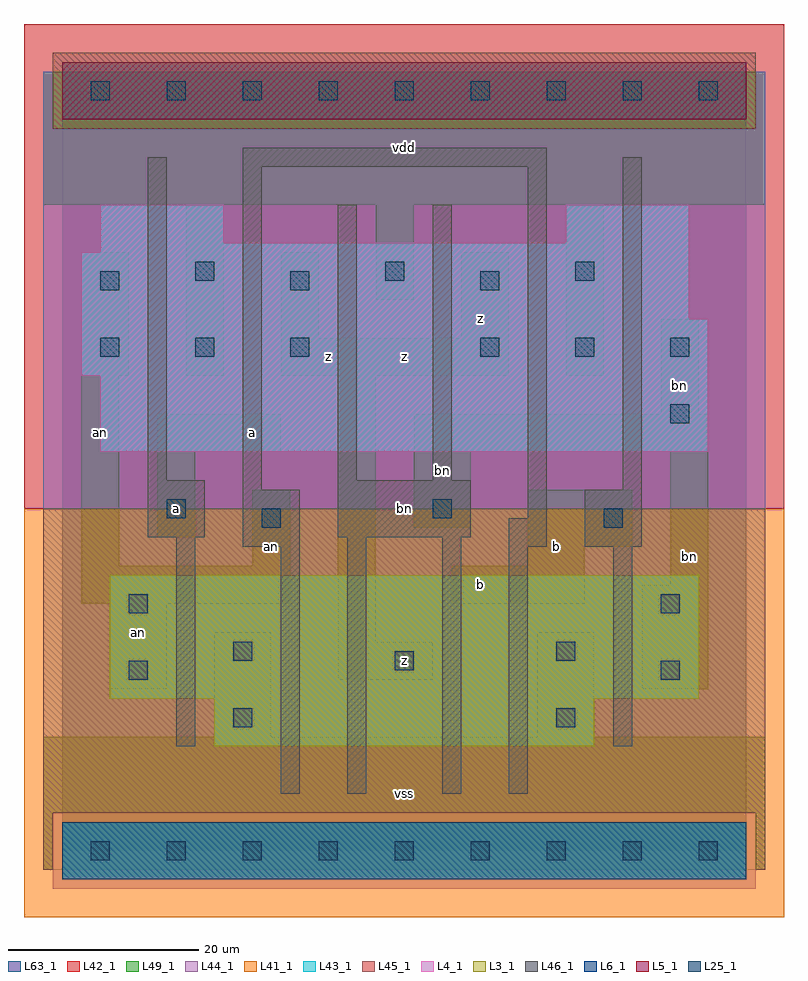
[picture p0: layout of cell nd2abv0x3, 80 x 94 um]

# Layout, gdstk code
import gdstk
lib = gdstk.Library(unit=1e-6, precision=1e-09)
def R(c, l, rs):  # rectangles x0, y0, x1, y1
    for r in rs: c.add(gdstk.rectangle(r[:2], r[2:], *l))
def A(c, l, x, y, w, h, nx, ny, dx, dy):  # array of equal rectangles
    R(c, l, [(x+i*dx, y+j*dy, x+i*dx+w, y+j*dy+h) for i in range(nx) for j in range(ny)])
L3_1 = (3, 1)
L4_1 = (4, 1)
L5_1 = (5, 1)
L6_1 = (6, 1)
L25_1 = (25, 1)
L41_1 = (41, 1)
L42_1 = (42, 1)
L43_1 = (43, 1)
L44_1 = (44, 1)
L45_1 = (45, 1)
L46_1 = (46, 1)
L49_1 = (49, 1)
L63_1 = (63, 1)

nd2abv0x3 = lib.new_cell('nd2abv0x3')
R(nd2abv0x3, L3_1, [(16,11,56,16), (5,16,67,29)])
R(nd2abv0x3, L4_1, [(4,42,68,50), (2,50,68,56), (2,56,66,63), (4,63,66,64), (4,64,17,68), (53,64,66,68)])
R(nd2abv0x3, L5_1, [(0,77,72,83)])
R(nd2abv0x3, L6_1, [(0,-3,72,3), (0,-3,72,3)])
A(nd2abv0x3, L25_1, 3, -1, 2, 2, 9, 2, 8, 80)
A(nd2abv0x3, L25_1, 4, 52, 2, 2, 3, 1, 10, 0)
A(nd2abv0x3, L25_1, 44, 52, 2, 2, 3, 1, 10, 0)
A(nd2abv0x3, L25_1, 4, 59, 2, 2, 3, 1, 20, 0)
A(nd2abv0x3, L25_1, 14, 60, 2, 2, 3, 1, 20, 0)
R(nd2abv0x3, L25_1, [(18,13,20,15), (52,13,54,15), (7,18,9,20), (63,18,65,20), (35,19,37,21), (18,20,20,22), (52,20,54,22), (7,25,9,27), (63,25,65,27), (21,34,23,36), (57,34,59,36), (11,35,13,37), (39,35,41,37), (64,45,66,47)])
R(nd2abv0x3, L41_1, [(-4,-7,76,36)])
R(nd2abv0x3, L42_1, [(-4,36,76,87)])
R(nd2abv0x3, L43_1, [(0,-3,72,3), (16,11,56,16), (5,16,67,29), (4,42,68,50), (2,50,68,56), (2,56,66,63), (4,63,66,64), (4,64,17,68), (53,64,66,68), (0,77,72,83)])
R(nd2abv0x3, L44_1, [(-1,-4,73,4), (-2,36,74,76), (-2,76,-1,82), (73,76,74,82)])
R(nd2abv0x3, L45_1, [(-2,-2,-1,4), (73,-2,74,4), (-2,4,74,36), (-1,76,73,84)])
R(nd2abv0x3, L46_1, [(23,6,25,32), (30,6,32,33), (40,6,42,33), (47,6,49,32), (12,11,14,33), (58,11,60,32), (19,32,25,38), (47,32,51,35), (55,32,61,38), (9,33,15,39), (29,33,43,39), (49,35,51,72), (19,38,21,72), (59,38,61,73), (9,39,11,73), (29,39,31,68), (39,39,41,68), (19,72,51,74)])
R(nd2abv0x3, L49_1, [(-2,-2,74,12), (16,12,22,23), (50,12,56,23), (5,17,11,26), (61,17,68,28), (29,18,39,22), (29,22,33,50), (2,26,24,30), (41,26,55,30), (64,28,68,42), (2,30,6,50), (20,30,24,38), (49,30,55,32), (49,32,60,38), (10,33,14,42), (37,34,43,42), (10,42,23,46), (37,42,68,46), (63,46,67,56), (2,50,7,63), (13,50,17,68), (23,50,47,54), (53,50,57,68), (23,54,27,63), (42,54,47,63), (33,58,37,68), (-2,68,74,82)])
R(nd2abv0x3, L63_1, [(0,0,72,80)])
nd2abv0x3.add(gdstk.Label('bn', (36,36), layer=46, texttype=1))
nd2abv0x3.add(gdstk.Label('an', (8,23), layer=49, texttype=1))
nd2abv0x3.add(gdstk.Label('an', (4,44), layer=49, texttype=1))
nd2abv0x3.add(gdstk.Label('an', (22,32), layer=49, texttype=1))
nd2abv0x3.add(gdstk.Label('a', (12,36), layer=49, texttype=1))
nd2abv0x3.add(gdstk.Label('a', (20,44), layer=49, texttype=1))
nd2abv0x3.add(gdstk.Label('vss', (36,6), layer=49, texttype=1))
nd2abv0x3.add(gdstk.Label('z', (36,20), layer=49, texttype=1))
nd2abv0x3.add(gdstk.Label('bn', (40,40), layer=49, texttype=1))
nd2abv0x3.add(gdstk.Label('z', (36,52), layer=49, texttype=1))
nd2abv0x3.add(gdstk.Label('z', (28,52), layer=49, texttype=1))
nd2abv0x3.add(gdstk.Label('vdd', (36,74), layer=49, texttype=1))
nd2abv0x3.add(gdstk.Label('b', (44,28), layer=49, texttype=1))
nd2abv0x3.add(gdstk.Label('b', (52,32), layer=49, texttype=1))
nd2abv0x3.add(gdstk.Label('z', (44,56), layer=49, texttype=1))
nd2abv0x3.add(gdstk.Label('bn', (66,31), layer=49, texttype=1))
nd2abv0x3.add(gdstk.Label('bn', (65,49), layer=49, texttype=1))

lib.write_gds('nd2abv0x3.gds')
